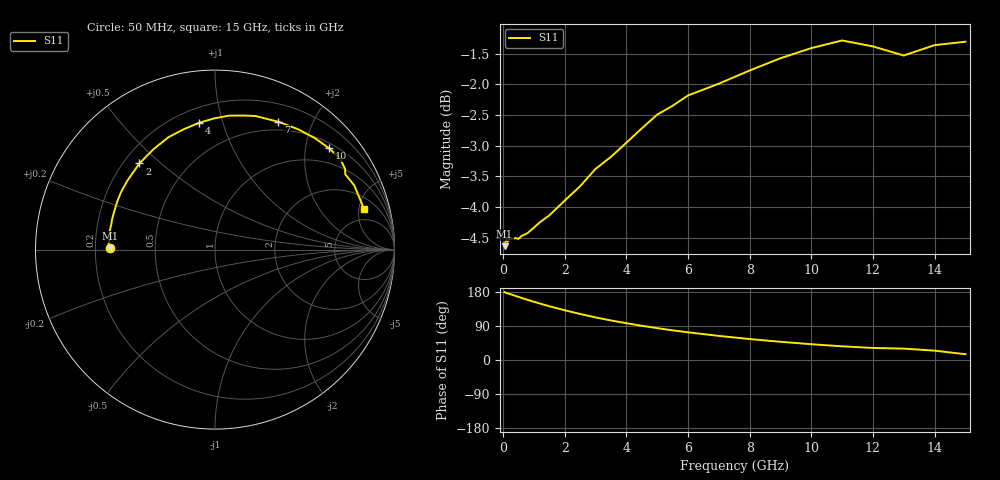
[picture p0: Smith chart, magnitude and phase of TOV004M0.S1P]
! SIEMENS Small Signal Semiconductors
! BAT15-03W
! Si Schottky Diode in SOD323
! IF = 4 mA
! S-Parameters:  May  1996
# GHz  S  MA  R  50
!  f  S11
! GHz  MAG  ANG
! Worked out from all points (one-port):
!   31 points, 50 MHz to 15 GHz, reference 50 ohm
!   lowest |S11| = -4.6 dB at 50 MHz (marker M1), VSWR 3.83, Z = 13 + j0.325 ohm
!   |S11| at or under -10 dB: nowhere
!   S11 on the Smith chart (normalised r, x): 50 MHz: 0.26, +0.01; 2 GHz: 0.26, +0.43; 4 GHz: 0.29, +0.84; 7 GHz: 0.40, +1.54; 10 GHz: 0.61, +2.50; 15 GHz: 3.23, +5.64
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0.05  0.5863 179.2
0.1  0.5941 176.8
0.15  0.5914 175.9
0.2  0.5939 174.7
0.4  0.5953 169.2
0.6  0.5976 163.8
0.8  0.601 158.6
1  0.607 153.7
1.2  0.6134 148.9
1.5  0.6211 141.9
2  0.6386 131.3
2.5  0.656 121.5
3  0.6777 112.5
3.5  0.6932 104.4
4  0.7118 97.1
4.5  0.7312 90.3
5  0.7503 84.1
5.5  0.7629 78.3
6  0.7778 73.1
7  0.7952 63.6
8  0.815 55.3
9  0.834 48.1
10  0.85 41.6
11  0.8623 36.1
12  0.8527 31.8
13  0.8383 30.0
14  0.8548 24.7
15  0.8602 15.3
